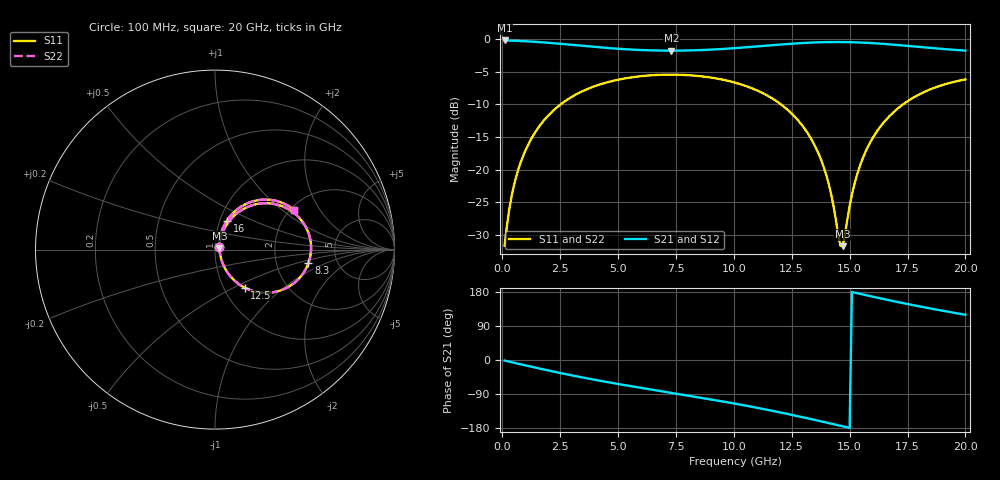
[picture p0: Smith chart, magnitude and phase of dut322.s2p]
! Touchstone file exported from HFSS 2026.1.0
!  File:  C:/ffzhzh/LocalFiles/Ansys_Project_Files/temp_train_TSV_RDL_322_1783031593_53980.aedt
!  Generated:  06:47:59 AM Jul  3, 2026
!  Design:  TSV_RDL
!  Project:  temp_train_TSV_RDL_322_1783031593_53980
! Variables:
!  h_bsmrdl = 2.68um
!  h_ox = 20um
!  h_rdl = 5um
!  h_sub = 71.01um
!  h_tmrdl = 4um
!  h_tsv = 71.01um
!  h_via = 3um
!  l_bsmrdl = 308.08um
!  l_sub = 4019.64um
!  l_tmrdl = 639.8um
!  m_sub = 200um
!  pitch = 44.79um
!  r_tsv = 4.12um
!  s_tmrdl = 10um
!  w_bsmrdl = 28.38um
!  w_sub = 500um
!  w_tmrdl = 17.02um
!  x_tsv_center1 = 648.31um
!  x_tsv_center2 = 984.77um
!  x_tsv_center3 = 1641.59um
!  x_tsv_center4 = 1978.05um
!  x_tsv_center5 = 2634.87um
!  x_tsv_center6 = 2971.33um
# GHz S MA R 50.000000
! Terminal data exported
! Port[1] = TM_RDL1_1_T1
! Port[2] = TM_RDL5_1_T1
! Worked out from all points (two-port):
!   200 points, 100 MHz to 20 GHz, reference 50 ohm
!   highest |S21| = -0.19 dB at 100 MHz (marker M1); lowest = -1.8 dB at 7.3 GHz (marker M2)
!   |S21| within 3 dB of the highest: start of sweep to end of sweep
!   lowest |S11| = -31.7 dB at 14.7 GHz (marker M3), VSWR 1.05, Z = 52.5 + j0.81 ohm
!   |S11| at or under -10 dB: start of sweep to 2.514 GHz; 12.04 GHz to 17.3 GHz (5.259 GHz wide, 35.8 % of centre)
!   |S22| runs from -31.9 to -5.4 dB; largest |S21 - S12| = 1.7e-14
!   S11 on the Smith chart (normalised r, x): 100 MHz: 1.04, +0.03; 8.3 GHz: 3.07, -0.64; 12.5 GHz: 1.25, -0.57; 16 GHz: 1.08, +0.36; 20 GHz: 2.08, +1.22
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0.1  0.02623 33.7  0.9785 -1.5  0.9785 -1.5  0.02623 33.7
! Gamma 0 0 0 0
! Port Impedance 50 0 50 0
0.3  0.04961 58.1  0.9762 -4.4  0.9762 -4.4  0.04961 58.1
0.5  0.07547 64.2  0.9733 -7.3  0.9733 -7.3  0.07547 64.2
1.1  0.1535 64.9  0.9627 -15.7  0.9627 -15.7  0.1535 64.9
2.1  0.273 55.4  0.9358 -29.2  0.9358 -29.2  0.273 55.4
3.5  0.4024 39.7  0.8885 -46.5  0.8885 -46.5  0.4025 39.7
6.8  0.5336 6.2  0.8187 -81.7  0.8187 -81.7  0.5336 6.2
7.3  0.5355 1.4  0.8174 -86.7  0.8174 -86.7  0.5355 1.4
8.3  0.5261 -8.2  0.8226 -96.7  0.8226 -96.7  0.5261 -8.2
10.1  0.4625 -26.2  0.8559 -115.8  0.8559 -115.8  0.4625 -26.2
12.5  0.2691 -52.0  0.924 -144.7  0.924 -144.7  0.2691 -52.1
13.4  0.165 -60.4  0.9433 -156.8  0.9433 -156.8  0.165 -60.5
14  0.09001 -61.0  0.9504 -165.1  0.9504 -165.1  0.08991 -61.3
14.3  0.05323 -53.0  0.9519 -169.3  0.9519 -169.3  0.05302 -53.6
14.6  0.02617 -10.9  0.9519 -173.5  0.9519 -173.5  0.02564 -11.4
14.7  0.02599 17.3  0.9515 -174.9  0.9515 -174.9  0.02542 17.5
15  0.05253 60.5  0.9495 -179.1  0.9495 -179.1  0.0522 61.0
15.3  0.08907 68.7  0.946 176.7  0.946 176.7  0.08884 69.0
16  0.1755 67.5  0.9329 167.1  0.9329 167.1  0.1753 67.7
16.7  0.2554 61.1  0.9142 157.8  0.9142 157.8  0.2553 61.3
18.1  0.3852 46.2  0.8697 140.4  0.8697 140.4  0.385 46.3
20  0.492 26.9  0.8184 119.4  0.8184 119.4  0.4919 26.9
